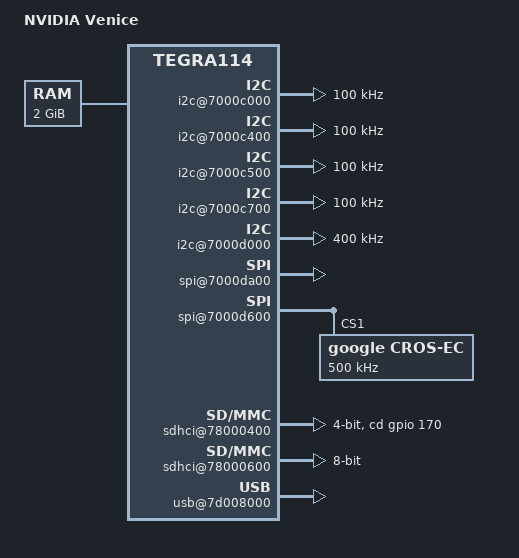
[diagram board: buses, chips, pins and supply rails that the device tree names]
/dts-v1/;

/include/ "tegra114.dtsi"
#ifdef CONFIG_CHROMEOS
/include/ "flashmap-tegra-ro.dtsi"
/include/ "flashmap-tegra-4mb-rw.dtsi"
/include/ "chromeos-tegra.dtsi"
#endif

/ {
	model = "NVIDIA Venice";
	compatible = "nvidia,venice", "nvidia,tegra114";

	config {
		hwid = "NVIDIA Venice";
	};

	aliases {
		i2c0 = "/i2c@7000d000";
		i2c1 = "/i2c@7000c000";
		i2c2 = "/i2c@7000c400";
		i2c3 = "/i2c@7000c500";
		i2c4 = "/i2c@7000c700";
		sdhci0 = "/sdhci@78000600";
		sdhci1 = "/sdhci@78000400";
		usb0 = "/usb@7d008000";
	};

	memory {
		device_type = "memory";
		reg = <0x80000000 0x80000000>;
	};

	i2c@7000c000 {
		status = "okay";
		clock-frequency = <100000>;
		nvidia,use-repeat-start;
	};

	i2c@7000c400 {
		status = "okay";
		clock-frequency = <100000>;
	};

	i2c@7000c500 {
		status = "okay";
		clock-frequency = <100000>;
	};

	i2c@7000c700 {
		status = "okay";
		clock-frequency = <100000>;
	};

	i2c@7000d000 {
		status = "okay";
		clock-frequency = <400000>;
	};

	spi@7000da00 {
		status = "okay";
		spi-max-frequency = <25000000>;
	};

	spi@7000d600 {
		status = "okay";
		spi-max-frequency = <25000000>;
		cros-ec {
			compatible = "google,cros-ec";
			spi-max-frequency = <500000>;
		        reg = <1>;
		};
	};

	sdhci@78000400 {
		cd-gpios = <&gpio 170 0>; /* gpio PV2 */
		bus-width = <4>;
		status = "okay";
	};

	sdhci@78000600 {
		bus-width = <8>;
		status = "okay";
	};

	usb@7d008000 {
		/* SPDIF_IN: USB_VBUS_EN1 */
		nvidia,vbus-gpio = <&gpio 86 0>;
		status = "okay";
	};
};
